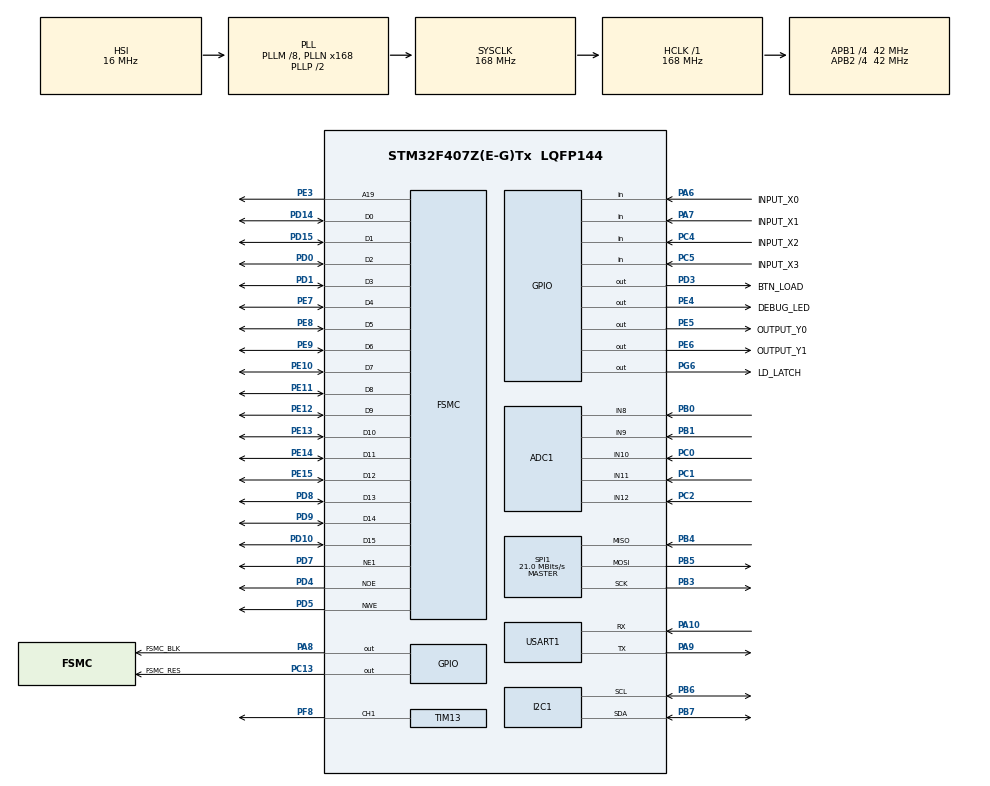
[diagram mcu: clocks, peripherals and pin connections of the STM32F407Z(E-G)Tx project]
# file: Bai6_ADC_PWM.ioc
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ADC1.Channel-0\#ChannelRegularConversion=ADC_CHANNEL_8
ADC1.Channel-1\#ChannelRegularConversion=ADC_CHANNEL_9
ADC1.Channel-2\#ChannelRegularConversion=ADC_CHANNEL_10
ADC1.Channel-3\#ChannelRegularConversion=ADC_CHANNEL_11
ADC1.Channel-4\#ChannelRegularConversion=ADC_CHANNEL_12
ADC1.NbrOfConversion=5
ADC1.NbrOfConversionFlag=1
ADC1.Rank-0\#ChannelRegularConversion=1
ADC1.Rank-1\#ChannelRegularConversion=2
ADC1.Rank-2\#ChannelRegularConversion=3
ADC1.Rank-3\#ChannelRegularConversion=4
ADC1.Rank-4\#ChannelRegularConversion=5
ADC1.SamplingTime-0\#ChannelRegularConversion=ADC_SAMPLETIME_3CYCLES
ADC1.SamplingTime-1\#ChannelRegularConversion=ADC_SAMPLETIME_3CYCLES
ADC1.SamplingTime-2\#ChannelRegularConversion=ADC_SAMPLETIME_3CYCLES
ADC1.SamplingTime-3\#ChannelRegularConversion=ADC_SAMPLETIME_3CYCLES
ADC1.SamplingTime-4\#ChannelRegularConversion=ADC_SAMPLETIME_3CYCLES
ADC1.ScanConvMode=ENABLE
ADC1.master=1
Dma.ADC1.0.Direction=DMA_PERIPH_TO_MEMORY
Dma.ADC1.0.FIFOMode=DMA_FIFOMODE_DISABLE
Dma.ADC1.0.Instance=DMA2_Stream0
Dma.ADC1.0.MemDataAlignment=DMA_MDATAALIGN_HALFWORD
Dma.ADC1.0.MemInc=DMA_MINC_ENABLE
Dma.ADC1.0.Mode=DMA_CIRCULAR
Dma.ADC1.0.PeriphDataAlignment=DMA_PDATAALIGN_HALFWORD
Dma.ADC1.0.PeriphInc=DMA_PINC_DISABLE
Dma.ADC1.0.Priority=DMA_PRIORITY_LOW
Dma.Request0=ADC1
FSMC.AddressSetupTime1=0xf
FSMC.BusTurnAroundDuration1=0
FSMC.DataSetupTime1=60
FSMC.ExtendedAddressSetupTime1=8
FSMC.ExtendedBusTurnAroundDuration1=0
FSMC.ExtendedDataSetupTime1=9
FSMC.ExtendedMode1=FSMC_EXTENDED_MODE_ENABLE
Mcu.Family=STM32F4
Mcu.Name=STM32F407Z(E-G)Tx
Mcu.Package=LQFP144
NVIC.DMA2_Stream0_IRQn=true\:0\:0\:false\:false\:true\:false\:true\:true
NVIC.PriorityGroup=NVIC_PRIORITYGROUP_4
NVIC.TIM2_IRQn=true\:0\:0\:false\:false\:true\:true\:true\:true
NVIC.USART1_IRQn=true\:0\:0\:false\:false\:true\:true\:true\:true
PA10.Mode=Asynchronous
PA10.Signal=USART1_RX
PA13.Mode=Serial_Wire
PA13.Signal=SYS_JTMS-SWDIO
PA14.Mode=Serial_Wire
PA14.Signal=SYS_JTCK-SWCLK
PA6.GPIO_Label=INPUT_X0
PA6.Signal=GPIO_Input
PA7.GPIO_Label=INPUT_X1
PA7.Signal=GPIO_Input
PA8.GPIO_Label=FSMC_BLK
PA8.Signal=GPIO_Output
PA9.Mode=Asynchronous
PA9.Signal=USART1_TX
PB0.Signal=ADCx_IN8
PB1.Signal=ADCx_IN9
PB3.Mode=Full_Duplex_Master
PB3.Signal=SPI1_SCK
PB4.Mode=Full_Duplex_Master
PB4.Signal=SPI1_MISO
PB5.Mode=Full_Duplex_Master
PB5.Signal=SPI1_MOSI
PB6.Mode=I2C
PB6.Signal=I2C1_SCL
PB7.Mode=I2C
PB7.Signal=I2C1_SDA
PC0.Signal=ADCx_IN10
PC1.Signal=ADCx_IN11
PC13-ANTI_TAMP.GPIO_Label=FSMC_RES
PC13-ANTI_TAMP.Signal=GPIO_Output
PC2.Signal=ADCx_IN12
PC4.GPIO_Label=INPUT_X2
PC4.Signal=GPIO_Input
PC5.GPIO_Label=INPUT_X3
PC5.Signal=GPIO_Input
PD0.Signal=FSMC_D2_DA2
PD1.Signal=FSMC_D3_DA3
PD10.Signal=FSMC_D15_DA15
PD14.Signal=FSMC_D0_DA0
PD15.Signal=FSMC_D1_DA1
PD3.GPIO_Label=BTN_LOAD
PD3.Signal=GPIO_Output
PD4.Signal=FSMC_NOE
PD5.Signal=FSMC_NWE
PD7.Mode=NorPsramChipSelect1_1
PD7.Signal=FSMC_NE1
PD8.Signal=FSMC_D13_DA13
PD9.Signal=FSMC_D14_DA14
PE10.Signal=FSMC_D7_DA7
PE11.Signal=FSMC_D8_DA8
PE12.Signal=FSMC_D9_DA9
PE13.Signal=FSMC_D10_DA10
PE14.Signal=FSMC_D11_DA11
PE15.Signal=FSMC_D12_DA12
PE3.Signal=FSMC_A19
PE4.GPIO_Label=DEBUG_LED
PE4.Signal=GPIO_Output
PE5.GPIO_Label=OUTPUT_Y0
PE5.Signal=GPIO_Output
PE6.GPIO_Label=OUTPUT_Y1
PE6.Signal=GPIO_Output
PE7.Signal=FSMC_D4_DA4
PE8.Signal=FSMC_D5_DA5
PE9.Signal=FSMC_D6_DA6
PF8.Signal=S_TIM13_CH1
PG6.GPIO_Label=LD_LATCH
PG6.Signal=GPIO_Output
PH0-OSC_IN.Mode=HSE-External-Oscillator
PH0-OSC_IN.Signal=RCC_OSC_IN
PH1-OSC_OUT.Mode=HSE-External-Oscillator
PH1-OSC_OUT.Signal=RCC_OSC_OUT
ProjectManager.HeapSize=0x200
ProjectManager.StackSize=0x400
ProjectManager.TargetToolchain=STM32CubeIDE
RCC.48MHZClocksFreq_Value=84000000
RCC.AHBFreq_Value=168000000
RCC.APB1CLKDivider=RCC_HCLK_DIV4
RCC.APB1Freq_Value=42000000
RCC.APB1TimFreq_Value=84000000
RCC.APB2CLKDivider=RCC_HCLK_DIV4
RCC.APB2Freq_Value=42000000
RCC.APB2TimFreq_Value=84000000
RCC.CortexFreq_Value=168000000
RCC.HCLKFreq_Value=168000000
RCC.HSE_VALUE=8000000
RCC.HSI_VALUE=16000000
RCC.LSE_VALUE=32768
RCC.PLLM=8
RCC.PLLN=168
RCC.SYSCLKFreq_VALUE=168000000
RCC.SYSCLKSource=RCC_SYSCLKSOURCE_PLLCLK
RCC.VCOOutputFreq_Value=336000000
SH.ADCx_IN10.0=ADC1_IN10,IN10
SH.ADCx_IN11.0=ADC1_IN11,IN11
SH.ADCx_IN12.0=ADC1_IN12,IN12
SH.ADCx_IN8.0=ADC1_IN8,IN8
SH.ADCx_IN9.0=ADC1_IN9,IN9
SH.FSMC_A19.0=FSMC_A19,A19_1
SH.FSMC_D0_DA0.0=FSMC_D0,16b-d1
SH.FSMC_D10_DA10.0=FSMC_D10,16b-d1
SH.FSMC_D11_DA11.0=FSMC_D11,16b-d1
SH.FSMC_D12_DA12.0=FSMC_D12,16b-d1
SH.FSMC_D13_DA13.0=FSMC_D13,16b-d1
SH.FSMC_D14_DA14.0=FSMC_D14,16b-d1
SH.FSMC_D15_DA15.0=FSMC_D15,16b-d1
SH.FSMC_D1_DA1.0=FSMC_D1,16b-d1
SH.FSMC_D2_DA2.0=FSMC_D2,16b-d1
SH.FSMC_D3_DA3.0=FSMC_D3,16b-d1
SH.FSMC_D4_DA4.0=FSMC_D4,16b-d1
SH.FSMC_D5_DA5.0=FSMC_D5,16b-d1
SH.FSMC_D6_DA6.0=FSMC_D6,16b-d1
SH.FSMC_D7_DA7.0=FSMC_D7,16b-d1
SH.FSMC_D8_DA8.0=FSMC_D8,16b-d1
SH.FSMC_D9_DA9.0=FSMC_D9,16b-d1
SH.FSMC_NOE.0=FSMC_NOE,Lcd1
SH.FSMC_NWE.0=FSMC_NWE,Lcd1
SH.S_TIM13_CH1.0=TIM13_CH1,PWM Generation1 CH1
SPI1.BaudRatePrescaler=SPI_BAUDRATEPRESCALER_2
SPI1.CalculateBaudRate=21.0 MBits/s
SPI1.Direction=SPI_DIRECTION_2LINES
SPI1.Mode=SPI_MODE_MASTER
SPI1.VirtualType=VM_MASTER
TIM13.Channel=TIM_CHANNEL_1
TIM13.Period=100-1
TIM13.Prescaler=840-1
TIM2.Period=100-1
TIM2.Prescaler=840-1
USART1.VirtualMode=VM_ASYNC
VP_TIM13_VS_ClockSourceINT.Mode=Enable_Timer
VP_TIM2_VS_ClockSourceINT.Mode=Internal
board=custom

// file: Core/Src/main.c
/* USER CODE BEGIN Header */
/**
  ******************************************************************************
  * @file           : main.c
  * @brief          : Main program body
  ******************************************************************************
  * @attention
  *
  * <h2><center>&copy; Copyright (c) 2023 STMicroelectronics.
  * All rights reserved.</center></h2>
  *
  * This software component is licensed by ST under BSD 3-Clause license,
  * the "License"; You may not use this file except in compliance with the
  * License. You may obtain a copy of the License at:
  *                        opensource.org/licenses/BSD-3-Clause
  *
  ******************************************************************************
  */
/* USER CODE END Header */
#include "main.h"
#include "adc.h"
#include "dma.h"
#include "i2c.h"
#include "spi.h"
#include "tim.h"
#include "usart.h"
#include "gpio.h"
#include "fsmc.h"

/* USER CODE BEGIN Includes */
#include "software_timer.h"
#include "led_7seg.h"
#include "button.h"
#include "lcd.h"
#include "picture.h"
#include "ds3231.h"
#include "uart.h"
#include "sensor.h"
#include "buzzer.h"
#include "sensor_data_display.h"
/* USER CODE END Includes */

void SystemClock_Config(void);
/* USER CODE BEGIN PFP */
void system_init();
void test_LedDebug();
void test_Buzzer();
void test_Adc();
/* USER CODE END PFP */

int main(void)
{

  /* MCU Configuration--------------------------------------------------------*/

  /* Reset of all peripherals, Initializes the Flash interface and the Systick. */
  HAL_Init();

  /* Configure the system clock */
  SystemClock_Config();

  /* Initialize all configured peripherals */
  MX_GPIO_Init();
  MX_DMA_Init();
  MX_SPI1_Init();
  MX_FSMC_Init();
  MX_I2C1_Init();
  MX_TIM13_Init();
  MX_TIM2_Init();
  MX_ADC1_Init();
  MX_USART1_UART_Init();
  /* USER CODE BEGIN 2 */
  system_init();
  /* USER CODE END 2 */

  /* Infinite loop */
  /* USER CODE BEGIN WHILE */
 lcd_Clear(BLACK);
  while (1)
  {
	  while(!flag_timer2[1]);
	  flag_timer2[1] = 0;
	  button_Scan();
	  test_LedDebug();
	  ds3231_ReadTime();
	  test_Uart();
	  test_Adc();
	  test_Buzzer();
    /* USER CODE END WHILE */

  }
}

void SystemClock_Config(void)
{
  RCC_OscInitTypeDef RCC_OscInitStruct = {0};
  RCC_ClkInitTypeDef RCC_ClkInitStruct = {0};

  /** Configure the main internal regulator output voltage
  */
  __HAL_RCC_PWR_CLK_ENABLE();
  __HAL_PWR_VOLTAGESCALING_CONFIG(PWR_REGULATOR_VOLTAGE_SCALE1);

  /** Initializes the RCC Oscillators according to the specified parameters
  * in the RCC_OscInitTypeDef structure.
  */
  RCC_OscInitStruct.OscillatorType = RCC_OSCILLATORTYPE_HSI;
  RCC_OscInitStruct.HSIState = RCC_HSI_ON;
  RCC_OscInitStruct.HSICalibrationValue = RCC_HSICALIBRATION_DEFAULT;
  RCC_OscInitStruct.PLL.PLLState = RCC_PLL_ON;
  RCC_OscInitStruct.PLL.PLLSource = RCC_PLLSOURCE_HSI;
  RCC_OscInitStruct.PLL.PLLM = 8;
  RCC_OscInitStruct.PLL.PLLN = 168;
  RCC_OscInitStruct.PLL.PLLP = RCC_PLLP_DIV2;
  RCC_OscInitStruct.PLL.PLLQ = 4;
  if (HAL_RCC_OscConfig(&RCC_OscInitStruct) != HAL_OK)
  {
    Error_Handler();
  }

  /** Initializes the CPU, AHB and APB buses clocks
  */
  RCC_ClkInitStruct.ClockType = RCC_CLOCKTYPE_HCLK|RCC_CLOCKTYPE_SYSCLK
                              |RCC_CLOCKTYPE_PCLK1|RCC_CLOCKTYPE_PCLK2;
  RCC_ClkInitStruct.SYSCLKSource = RCC_SYSCLKSOURCE_PLLCLK;
  RCC_ClkInitStruct.AHBCLKDivider = RCC_SYSCLK_DIV1;
  RCC_ClkInitStruct.APB1CLKDivider = RCC_HCLK_DIV4;
  RCC_ClkInitStruct.APB2CLKDivider = RCC_HCLK_DIV4;

  if (HAL_RCC_ClockConfig(&RCC_ClkInitStruct, FLASH_LATENCY_5) != HAL_OK)
  {
    Error_Handler();
  }
}

/* USER CODE BEGIN 4 */
void system_init(){
	  timer_init();
	  button_init();
	  lcd_init();
	  sensor_init();
	  buzzer_init();
	  setTimer2(50,1);
	  setTimer2(1000, 2);
	  setTimer2(1000, 3);
}

uint8_t count_led_debug = 0;

void test_LedDebug(){
	count_led_debug = (count_led_debug + 1)%20;
	if(count_led_debug == 0){
		HAL_GPIO_TogglePin(DEBUG_LED_GPIO_Port, DEBUG_LED_Pin);
	}
}

uint8_t isButtonUp()
{
    if (button_count[3] == 1)
        return 1;
    else
        return 0;
}

uint8_t isButtonDown()
{
    if (button_count[7] == 1)
        return 1;
    else
        return 0;
}

uint8_t isButtonRight()
{
    if (button_count[11] == 1)
        return 1;
    else
        return 0;
}

void test_button(){
	for(int i = 0; i < 16; i++){
		if(button_count[i] == 1){
			led7_SetDigit(i/10, 2, 0);
			led7_SetDigit(i%10, 3, 0);
		}
	}
}

void test_Uart(){
	if(button_count[12] == 1){
		uart_Rs232SendNum(ds3231_hours);
		uart_Rs232SendString(":");
		uart_Rs232SendNum(ds3231_min);
		uart_Rs232SendString(":");
		uart_Rs232SendNum(ds3231_sec);
		uart_Rs232SendString("\n");
	}
}

void test_Adc(){
	sensor_data_display();
}

void test_Buzzer(){
	if(isButtonUp()){
		buzzer_SetVolume(50);
	}

	if(isButtonDown()){
		buzzer_SetVolume(0);
	}

	if(isButtonRight()){
		buzzer_SetVolume(25);
	}

}
/* USER CODE END 4 */

void Error_Handler(void)
{
  __disable_irq();
  while (1)
  {
  }
}
